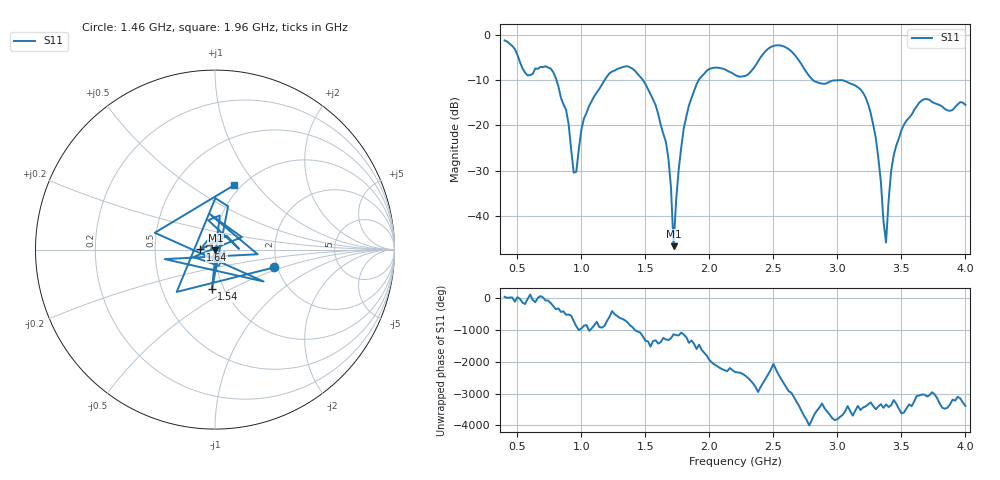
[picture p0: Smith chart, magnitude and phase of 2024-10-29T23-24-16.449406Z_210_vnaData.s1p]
!Created with skrf (http://scikit-rf.org).
# Hz S RI R 50.0
!freq ReS11 ImS11
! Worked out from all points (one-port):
!   181 points, 400 MHz to 4 GHz, reference 50 ohm
!   lowest |S11| = -46.6 dB at 1.72 GHz (marker M1), VSWR 1.01, Z = 50.2 - j0.43 ohm
!   |S11| at or under -10 dB: 805 MHz to 1.181 GHz (376.4 MHz wide, 37.9 % of centre); 1.481 GHz to 1.916 GHz (435.3 MHz wide, 25.6 % of centre); 3.02 GHz to end of sweep (the widest 3 of 4)
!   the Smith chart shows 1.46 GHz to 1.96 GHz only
!   S11 on the Smith chart (normalised r, x): 1.46 GHz: 1.92, -0.43; 1.54 GHz: 0.88, -0.41; 1.64 GHz: 0.85, +0.00; 1.96 GHz: 0.93, +0.77
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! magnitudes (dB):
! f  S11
! 400 MHz  -1.3
! 580 MHz  -9.0
! 760 MHz  -7.5
! 860 MHz  -15.4
! 960 MHz  -30.2
! 1 GHz  -20.9
! 1.06 GHz  -15.7
! 1.3 GHz  -7.3
! 1.46 GHz  -9.3
! 1.54 GHz  -13.1
! 1.64 GHz  -21.9
! 1.68 GHz  -27.4
! 1.72 GHz  -46.6
! 1.76 GHz  -29.8
! 1.84 GHz  -15.6
! 1.96 GHz  -8.6
! 2.2 GHz  -8.8
! 2.5 GHz  -2.5
! 2.66 GHz  -4.2
! 2.82 GHz  -10.3
! 3.1 GHz  -10.8
! 3.26 GHz  -17.3
! 3.32 GHz  -27.2
! 3.38 GHz  -45.8
! 3.44 GHz  -26.6
! 3.56 GHz  -18.3
! 3.68 GHz  -14.2
! 4 GHz  -15.5
